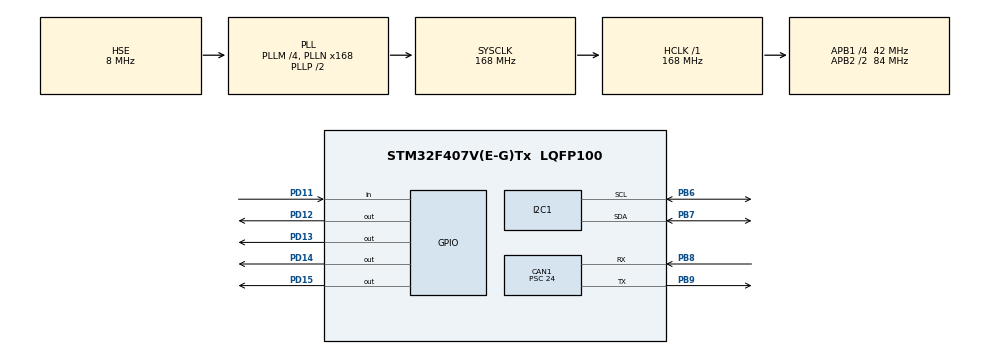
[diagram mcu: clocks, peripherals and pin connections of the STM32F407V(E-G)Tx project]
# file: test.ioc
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CAN1.BS1=CAN_BS1_13TQ
CAN1.BS2=CAN_BS2_2TQ
CAN1.CalculateBaudRate=109375
CAN1.CalculateTimeBit=9142
CAN1.CalculateTimeQuantum=571.4285714285714
CAN1.Prescaler=24
Mcu.Family=STM32F4
Mcu.Name=STM32F407V(E-G)Tx
Mcu.Package=LQFP100
NVIC.CAN1_RX0_IRQn=true\:0\:0\:false\:false\:true\:true\:true\:true
NVIC.PriorityGroup=NVIC_PRIORITYGROUP_0
PB6.Mode=I2C
PB6.Signal=I2C1_SCL
PB7.Mode=I2C
PB7.Signal=I2C1_SDA
PB8.Mode=CAN_Activate
PB8.Signal=CAN1_RX
PB9.Mode=CAN_Activate
PB9.Signal=CAN1_TX
PD11.Signal=GPIO_Input
PD12.Signal=GPIO_Output
PD13.Signal=GPIO_Output
PD14.Signal=GPIO_Output
PD15.Signal=GPIO_Output
PH0-OSC_IN.Mode=HSE-External-Oscillator
PH0-OSC_IN.Signal=RCC_OSC_IN
PH1-OSC_OUT.Mode=HSE-External-Oscillator
PH1-OSC_OUT.Signal=RCC_OSC_OUT
ProjectManager.HeapSize=0x200
ProjectManager.StackSize=0x400
ProjectManager.TargetToolchain=STM32CubeIDE
RCC.48MHZClocksFreq_Value=48000000
RCC.AHBFreq_Value=168000000
RCC.APB1CLKDivider=RCC_HCLK_DIV4
RCC.APB1Freq_Value=42000000
RCC.APB1TimFreq_Value=84000000
RCC.APB2CLKDivider=RCC_HCLK_DIV2
RCC.APB2Freq_Value=84000000
RCC.APB2TimFreq_Value=168000000
RCC.CortexFreq_Value=168000000
RCC.HCLKFreq_Value=168000000
RCC.HSE_VALUE=8000000
RCC.HSI_VALUE=16000000
RCC.LSE_VALUE=32768
RCC.PLLM=4
RCC.PLLN=168
RCC.PLLQ=7
RCC.PLLSourceVirtual=RCC_PLLSOURCE_HSE
RCC.SYSCLKFreq_VALUE=168000000
RCC.SYSCLKSource=RCC_SYSCLKSOURCE_PLLCLK
RCC.VCOOutputFreq_Value=336000000
VP_TIM6_VS_ClockSourceINT.Mode=Enable_Timer
board=STM32F407G-DISC1

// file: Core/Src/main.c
/* USER CODE BEGIN Header */
/**
  ******************************************************************************
  * @file           : main.c
  * @brief          : Main program body
  ******************************************************************************
  * @attention
  *
  * Copyright (c) 2024 STMicroelectronics.
  * All rights reserved.
  *
  * This software is licensed under terms that can be found in the LICENSE file
  * in the root directory of this software component.
  * If no LICENSE file comes with this software, it is provided AS-IS.
  *
  ******************************************************************************
  */
/* USER CODE END Header */
#include "main.h"

/* USER CODE BEGIN Includes */
#include <stdio.h>
#include <string.h>
#include <stdlib.h>
/* USER CODE END Includes */

/* USER CODE BEGIN PTD */
typedef struct {
uint8_t configuration;
uint8_t shunt_voltage;
uint8_t bus_voltage;
uint8_t power;
uint8_t current;
uint8_t calibration;
}registerPtr_t;
/* USER CODE END PTD */

/* USER CODE BEGIN PD */
/********DHT***********/
#define DHT_port GPIOD
#define DHT_pin GPIO_PIN_11
#define TWITCH_port GPIOD
#define TWITCH_pin GPIO_PIN_12
#define DHT_DETECT_port GPIOD
#define DHT_DETECT_pin GPIO_PIN_14
/**********************/
/* USER CODE END PD */

/* USER CODE BEGIN PM */
#define TWITCH  HAL_GPIO_TogglePin(TWITCH_port, TWITCH_pin);\
				delayUS(1);\
				HAL_GPIO_TogglePin(TWITCH_port, TWITCH_pin);

/********INA*********/
#define slave_addr 0x40
#define currentLSB 0.06
#define powerLSB   1.2
#define shuntVLSB  0.010
#define busVLSB    4
/********************/
/* USER CODE END PM */

CAN_HandleTypeDef hcan1;

I2C_HandleTypeDef hi2c1;

TIM_HandleTypeDef htim6;

/* USER CODE BEGIN PV */
/**********DHT*********/
GPIO_InitTypeDef gpioINIT;
uint8_t DHTdataBuff[5];
/********************/
/********INA*********/
uint8_t txBuff[3];
uint8_t rxBuff[2];
/********************/
/********CAN*********/
CAN_TxHeaderTypeDef  TxHeader;
CAN_RxHeaderTypeDef  RxHeader;
uint8_t              TxData[8];
uint8_t              RxData[8];
uint32_t             TxMailbox;
/********************/
/* USER CODE END PV */

void SystemClock_Config(void);
static void MX_GPIO_Init(void);
static void MX_CAN1_Init(void);
static void MX_I2C1_Init(void);
static void MX_TIM6_Init(void);
/* USER CODE BEGIN PFP */
/*********DHT***********/
static void delayUS(uint16_t);
void startBit();
void sensorPinOUT();
void sensorPinIN();
uint8_t detect();
void acquireData(uint8_t *);
/**********************/

/********INA*********/
uint8_t changeRegPtr(I2C_HandleTypeDef * , uint16_t , uint8_t * );
uint8_t getBytes(I2C_HandleTypeDef * , uint16_t , uint8_t * , uint8_t);
uint8_t putBytes(I2C_HandleTypeDef * , uint16_t , uint8_t * , uint8_t);
/********************/
/*********CAN********/
void CAN_filterConfig(void);
/********************/

/* USER CODE END PFP */

int main(void)
{
  /* USER CODE BEGIN 1 */
	uint8_t retval = 0;
	float temp;
	registerPtr_t reg_ptr = {
			.configuration = 0x00,
			.shunt_voltage = 0x01,
			.bus_voltage   = 0x02,
			.power         = 0x03,
			.current       = 0x04,
			.calibration   = 0x05
	};
	float current_mA;
	float bus_mV;
	float bus_V;
	float shunt_mV;
	float bus_mW;
	uint16_t current_regV;
	uint16_t busV_regV;
	uint16_t shunt_regV;
	uint16_t busP_regV;
  /* USER CODE END 1 */

  /* MCU Configuration--------------------------------------------------------*/

  /* Reset of all peripherals, Initializes the Flash interface and the Systick. */
  HAL_Init();

  /* Configure the system clock */
  SystemClock_Config();

  /* Initialize all configured peripherals */
  MX_GPIO_Init();
  MX_CAN1_Init();
  MX_I2C1_Init();
  MX_TIM6_Init();
  /* USER CODE BEGIN 2 */
  HAL_TIM_Base_Start(&htim6);

  //read and print default configuration register
  retval = changeRegPtr(&hi2c1,slave_addr,&(reg_ptr.configuration));
  printf("Change address to config_reg:%u\n",retval);
  retval = getBytes(&hi2c1 , slave_addr, rxBuff , 2);
  printf("Read success:%u\n",retval);
  printf("B1:%x\t B2:%x\n",rxBuff[0],rxBuff[1]);

  //writing configuration register accordingly
  txBuff[0]= reg_ptr.configuration;
  txBuff[1]= 0x9E; //0x15;
  txBuff[2]= 0x1F; //0x0f;
  retval = putBytes(&hi2c1, slave_addr, txBuff,3);
  printf("Write success at config_reg:%u\n",retval);

  //read an print updated configuration register
  retval = changeRegPtr(&hi2c1,slave_addr,&(reg_ptr.configuration));
  printf("Change address to config_reg:%u\n",retval);
  retval = getBytes(&hi2c1 , slave_addr, rxBuff , 2);
  printf("Read success:%u\n",retval);
  printf("B1:%x\t B2:%x\n",rxBuff[0],rxBuff[1]);

  //writing calibration register accordingly
  txBuff[0]= reg_ptr.calibration;
  txBuff[1]= 0x1A; //0x35;
  txBuff[2]= 0xAA; //0x54;

  //0x1AAA is left shifted by 1
  retval = putBytes(&hi2c1, slave_addr, txBuff,3);
  printf("Write success at calib_reg:%u\n",retval);

  //read an print updated calibration register
  retval = changeRegPtr(&hi2c1,slave_addr,&(reg_ptr.calibration));
  printf("Change address to config_reg:%u\n",retval);
  retval = getBytes(&hi2c1 , slave_addr, rxBuff , 2);
  printf("Read success:%u\n",retval);
  printf("B1:%x\t B2:%x\n",rxBuff[0],rxBuff[1]);

  CAN_filterConfig();
  if (HAL_CAN_Start(&hcan1) != HAL_OK)
  	  {
	  /* Start Error */
	  Error_Handler();
  	  	 }
  if (HAL_CAN_ActivateNotification(&hcan1, CAN_IT_RX_FIFO0_MSG_PENDING) != HAL_OK)
  	  {
  // Notification Error
  Error_Handler();
  	  }

  /* USER CODE END 2 */

  /* Infinite loop */
  while (1)
  {

    /* USER CODE BEGIN 3 */
	  HAL_GPIO_WritePin(GPIOD, GPIO_PIN_15, SET);
	  startBit();
	  retval = detect();
	  if(retval)
	  {
	  acquireData(DHTdataBuff);

	// uint32_t str[32];
	  temp = (float)(DHTdataBuff[2] << 8 | DHTdataBuff[3])/10.0;
	  printf("Temp:%f\n",temp);

	//  uint32_t count = sprintf(str, "ADC= %f\r\n", temp);
	  //	HAL_UART_Transmit(&huart2, (uint8_t*)str, count, HAL_MAX_DELAY);

	  TxData[0] = DHTdataBuff[2];
	  TxData[1] = DHTdataBuff[3];

	  }
	  else
	  {
	  printf("Temp:%f\n",99.99);
	  TxData[0] = 0x00;
	  TxData[1] = 0x00;
	  }
	  HAL_GPIO_WritePin(GPIOD, GPIO_PIN_15, RESET);
	  HAL_Delay(1000);

	  HAL_GPIO_WritePin(GPIOD, GPIO_PIN_15, SET);

	  //read current register
	  retval = changeRegPtr(&hi2c1,slave_addr,&(reg_ptr.current));
	  printf("Change address to current_reg:%u\n",retval);
	  retval = getBytes(&hi2c1 , slave_addr, rxBuff , 2);
	  printf("Read success:%u\n",retval);
	  printf("B1:%x\t B2:%x\n",rxBuff[0],rxBuff[1]);
	  current_regV = (rxBuff[0]<<8) + (rxBuff[1]);
	  current_mA = current_regV*currentLSB;
	  printf("Current Value:%f\n",current_mA);
	  TxData[2] = rxBuff[0];
	  TxData[3] = rxBuff[1];

	  //read busVoltage register
	  retval = changeRegPtr(&hi2c1,slave_addr,&(reg_ptr.bus_voltage));
	  printf("Change address to busVoltage_reg:%u\n",retval);
	  retval = getBytes(&hi2c1 , slave_addr, rxBuff , 2);
	  printf("Read success:%u\n",retval);
	  printf("B1:%x\t B2:%x\n",rxBuff[0],rxBuff[1]);
	  busV_regV = ((rxBuff[0]<<8) + (rxBuff[1]));
	  busV_regV = busV_regV >> 3;
	  bus_mV = busV_regV*busVLSB;
	  bus_V = bus_mV/1000;
	  printf("busVolt Value:%f\n",bus_V);
	  TxData[2] = rxBuff[0];
	  TxData[3] = rxBuff[1];

	  //read shuntVoltage register
	  retval = changeRegPtr(&hi2c1,slave_addr,&(reg_ptr.shunt_voltage));
	  printf("Change address to shuntVoltage:%u\n",retval);
	  retval = getBytes(&hi2c1 , slave_addr, rxBuff , 2);
	  printf("Read success:%u\n",retval);
	  printf("B1:%x\t B2:%x\n",rxBuff[0],rxBuff[1]);
	  shunt_regV = (rxBuff[0]<<8) + (rxBuff[1]);
	  shunt_mV = shunt_regV*shuntVLSB;
	  printf("shuntVolt Value:%f\n",shunt_mV);

	  //read busWattage register
	  retval = changeRegPtr(&hi2c1,slave_addr,&(reg_ptr.power));
	  printf("Change address to busWattage:%u\n",retval);
	  retval = getBytes(&hi2c1 , slave_addr, rxBuff , 2);
	  printf("Read success:%u\n",retval);

	  printf("B1:%x\t B2:%x\n",rxBuff[0],rxBuff[1]);
	  busP_regV = (rxBuff[0]<<8) + (rxBuff[1]);
	  bus_mW = busP_regV*powerLSB;
	  printf("busWatt Value:%f\n",bus_mW);
	  HAL_GPIO_WritePin(GPIOD, GPIO_PIN_15, RESET);
	  HAL_Delay(2000);
	  TxHeader.StdId = 0x123;
	  TxHeader.RTR = CAN_RTR_DATA;
	  TxHeader.IDE = CAN_ID_STD;
	  TxHeader.DLC = 6;
	  TxHeader.TransmitGlobalTime = DISABLE;
	  if (HAL_CAN_AddTxMessage(&hcan1, &TxHeader, TxData, &TxMailbox) != HAL_OK)
	  {
	  /* Transmission request Error */
	  Error_Handler();
	  }
	  for(int i=0;i<10;HAL_GPIO_TogglePin(GPIOD, GPIO_PIN_12),HAL_Delay(200),i++);
	  HAL_Delay(180000);

  }
  /* USER CODE END 3 */
}

void SystemClock_Config(void)
{
  RCC_OscInitTypeDef RCC_OscInitStruct = {0};
  RCC_ClkInitTypeDef RCC_ClkInitStruct = {0};

  /** Configure the main internal regulator output voltage
  */
  __HAL_RCC_PWR_CLK_ENABLE();
  __HAL_PWR_VOLTAGESCALING_CONFIG(PWR_REGULATOR_VOLTAGE_SCALE1);

  /** Initializes the RCC Oscillators according to the specified parameters
  * in the RCC_OscInitTypeDef structure.
  */
  RCC_OscInitStruct.OscillatorType = RCC_OSCILLATORTYPE_HSE;
  RCC_OscInitStruct.HSEState = RCC_HSE_ON;
  RCC_OscInitStruct.PLL.PLLState = RCC_PLL_ON;
  RCC_OscInitStruct.PLL.PLLSource = RCC_PLLSOURCE_HSE;
  RCC_OscInitStruct.PLL.PLLM = 4;
  RCC_OscInitStruct.PLL.PLLN = 168;
  RCC_OscInitStruct.PLL.PLLP = RCC_PLLP_DIV2;
  RCC_OscInitStruct.PLL.PLLQ = 7;
  if (HAL_RCC_OscConfig(&RCC_OscInitStruct) != HAL_OK)
  {
    Error_Handler();
  }

  /** Initializes the CPU, AHB and APB buses clocks
  */
  RCC_ClkInitStruct.ClockType = RCC_CLOCKTYPE_HCLK|RCC_CLOCKTYPE_SYSCLK
                              |RCC_CLOCKTYPE_PCLK1|RCC_CLOCKTYPE_PCLK2;
  RCC_ClkInitStruct.SYSCLKSource = RCC_SYSCLKSOURCE_PLLCLK;
  RCC_ClkInitStruct.AHBCLKDivider = RCC_SYSCLK_DIV1;
  RCC_ClkInitStruct.APB1CLKDivider = RCC_HCLK_DIV4;
  RCC_ClkInitStruct.APB2CLKDivider = RCC_HCLK_DIV2;

  if (HAL_RCC_ClockConfig(&RCC_ClkInitStruct, FLASH_LATENCY_5) != HAL_OK)
  {
    Error_Handler();
  }
}

static void MX_CAN1_Init(void)
{

  hcan1.Instance = CAN1;
  hcan1.Init.Prescaler = 24;
  hcan1.Init.Mode = CAN_MODE_NORMAL;
  hcan1.Init.SyncJumpWidth = CAN_SJW_1TQ;
  hcan1.Init.TimeSeg1 = CAN_BS1_13TQ;
  hcan1.Init.TimeSeg2 = CAN_BS2_2TQ;
  hcan1.Init.TimeTriggeredMode = DISABLE;
  hcan1.Init.AutoBusOff = DISABLE;
  hcan1.Init.AutoWakeUp = DISABLE;
  hcan1.Init.AutoRetransmission = DISABLE;
  hcan1.Init.ReceiveFifoLocked = DISABLE;
  hcan1.Init.TransmitFifoPriority = DISABLE;
  if (HAL_CAN_Init(&hcan1) != HAL_OK)
  {
    Error_Handler();
  }

}

static void MX_I2C1_Init(void)
{

  hi2c1.Instance = I2C1;
  hi2c1.Init.ClockSpeed = 100000;
  hi2c1.Init.DutyCycle = I2C_DUTYCYCLE_2;
  hi2c1.Init.OwnAddress1 = 0;
  hi2c1.Init.AddressingMode = I2C_ADDRESSINGMODE_7BIT;
  hi2c1.Init.DualAddressMode = I2C_DUALADDRESS_DISABLE;
  hi2c1.Init.OwnAddress2 = 0;
  hi2c1.Init.GeneralCallMode = I2C_GENERALCALL_DISABLE;
  hi2c1.Init.NoStretchMode = I2C_NOSTRETCH_DISABLE;
  if (HAL_I2C_Init(&hi2c1) != HAL_OK)
  {
    Error_Handler();
  }

}

static void MX_TIM6_Init(void)
{

  TIM_MasterConfigTypeDef sMasterConfig = {0};

  htim6.Instance = TIM6;
  htim6.Init.Prescaler = 0;
  htim6.Init.CounterMode = TIM_COUNTERMODE_UP;
  htim6.Init.Period = 65535;
  htim6.Init.AutoReloadPreload = TIM_AUTORELOAD_PRELOAD_DISABLE;
  if (HAL_TIM_Base_Init(&htim6) != HAL_OK)
  {
    Error_Handler();
  }
  sMasterConfig.MasterOutputTrigger = TIM_TRGO_RESET;
  sMasterConfig.MasterSlaveMode = TIM_MASTERSLAVEMODE_DISABLE;
  if (HAL_TIMEx_MasterConfigSynchronization(&htim6, &sMasterConfig) != HAL_OK)
  {
    Error_Handler();
  }

}

static void MX_GPIO_Init(void)
{
  GPIO_InitTypeDef GPIO_InitStruct = {0};

  /* GPIO Ports Clock Enable */
  __HAL_RCC_GPIOH_CLK_ENABLE();
  __HAL_RCC_GPIOD_CLK_ENABLE();
  __HAL_RCC_GPIOB_CLK_ENABLE();

  /*Configure GPIO pin Output Level */
  HAL_GPIO_WritePin(GPIOD, GPIO_PIN_12|GPIO_PIN_13|GPIO_PIN_14|GPIO_PIN_15, GPIO_PIN_RESET);

  /*Configure GPIO pin : PD11 */
  GPIO_InitStruct.Pin = GPIO_PIN_11;
  GPIO_InitStruct.Mode = GPIO_MODE_INPUT;
  GPIO_InitStruct.Pull = GPIO_NOPULL;
  HAL_GPIO_Init(GPIOD, &GPIO_InitStruct);

  /*Configure GPIO pins : PD12 PD13 PD14 PD15 */
  GPIO_InitStruct.Pin = GPIO_PIN_12|GPIO_PIN_13|GPIO_PIN_14|GPIO_PIN_15;
  GPIO_InitStruct.Mode = GPIO_MODE_OUTPUT_PP;
  GPIO_InitStruct.Pull = GPIO_NOPULL;
  GPIO_InitStruct.Speed = GPIO_SPEED_FREQ_LOW;
  HAL_GPIO_Init(GPIOD, &GPIO_InitStruct);

}

/* USER CODE BEGIN 4 */
static void delayUS(uint16_t delay)
{
	htim6.Instance->CNT = 0;
	while(htim6.Instance->CNT < delay);
}

void sensorPinOUT()
{
gpioINIT.Pin = DHT_pin;
gpioINIT.Mode = GPIO_MODE_OUTPUT_PP;
HAL_GPIO_Init(DHT_port, &gpioINIT);
}

void sensorPinIN()
{
gpioINIT.Pin = DHT_pin;
gpioINIT.Mode = GPIO_MODE_INPUT;
gpioINIT.Pull = GPIO_PULLUP;
HAL_GPIO_Init(DHT_port, &gpioINIT);
}

void startBit()
{
	sensorPinOUT();
	HAL_GPIO_WritePin(DHT_port, DHT_pin, RESET);
	delayUS(18000);
	sensorPinIN();
}

uint8_t detect()
{
	uint8_t presence = 0;
	delayUS(40);
	TWITCH
	if(!HAL_GPIO_ReadPin(DHT_port, DHT_pin))
	{
	presence = 1;
	HAL_GPIO_WritePin(DHT_DETECT_port, DHT_DETECT_pin, SET);
	}
	else
	{
	HAL_GPIO_WritePin(DHT_DETECT_port, DHT_DETECT_pin, RESET);
	return presence;
	}
	while(HAL_GPIO_ReadPin(DHT_port, DHT_pin) != GPIO_PIN_SET);
	TWITCH
	while(HAL_GPIO_ReadPin(DHT_port, DHT_pin) != GPIO_PIN_RESET);
	TWITCH
	return presence;
}

void acquireData(uint8_t * dataBuff)
{
	uint8_t temp;
	for(int i=0 ; i<5;i++)
	{
	temp = 0;
	for(int j=0;j<8;j++)
	{
	while(!HAL_GPIO_ReadPin(DHT_port, DHT_pin));
	delayUS(45);
	TWITCH
	if(HAL_GPIO_ReadPin(DHT_port, DHT_pin) == GPIO_PIN_RESET)
	{
	TWITCH
	//bit is '0'
	temp = temp & ~(1<<(7-j));
	}
	else
	{
	TWITCH
	//bit is '1'
	temp = temp | 1<<(7-j);
	delayUS(30);
	}
	}
	*(dataBuff+i) = temp;
	while(HAL_GPIO_ReadPin(DHT_port, DHT_pin) != GPIO_PIN_RESET);
	}
}

uint8_t changeRegPtr(I2C_HandleTypeDef * hi2c, uint16_t i2c_add, uint8_t * reg_ptr_val)
{
	if(!HAL_I2C_Master_Transmit(hi2c, i2c_add<<1 , reg_ptr_val, 1, 1000))
	return HAL_OK;
	else
	return HAL_ERROR;
	}
uint8_t getBytes(I2C_HandleTypeDef * hi2c , uint16_t i2c_add, uint8_t * buffPtr , uint8_t count)
{
	if(!HAL_I2C_Master_Receive(hi2c, i2c_add<<1, buffPtr, count, 10000))
	return HAL_OK;
	else
	return HAL_ERROR;
}
uint8_t putBytes(I2C_HandleTypeDef * hi2c , uint16_t i2c_add, uint8_t * buffPtr , uint8_t count)
{
	if(!HAL_I2C_Master_Transmit(hi2c, i2c_add<<1, buffPtr, count, 10000))
	return HAL_OK;
	else
	return HAL_ERROR;
}

void CAN_filterConfig(void)
{
	/*##- Setup the Filter to receive ANY MSG ID #####################################*/
	CAN_FilterTypeDef sFilterConfig;
	sFilterConfig.FilterBank = 0;
	sFilterConfig.FilterMode = CAN_FILTERMODE_IDMASK;
	sFilterConfig.FilterScale = CAN_FILTERSCALE_32BIT;
	sFilterConfig.FilterIdHigh = 0x0000;
	sFilterConfig.FilterIdLow = 0x0000;
	sFilterConfig.FilterMaskIdHigh = 0x0000;
	sFilterConfig.FilterMaskIdLow = 0x0000;
	sFilterConfig.FilterFIFOAssignment = CAN_RX_FIFO0;
	sFilterConfig.FilterActivation = ENABLE;
	sFilterConfig.SlaveStartFilterBank = 14;
	HAL_CAN_ConfigFilter(&hcan1, &sFilterConfig);
}

void HAL_CAN_RxFifo0MsgPendingCallback(CAN_HandleTypeDef *hcan)
{
	/* Get RX message from Fifo0 as message is Pending in Fifo to be Read */
	if (HAL_CAN_GetRxMessage(hcan, CAN_RX_FIFO0, &RxHeader, RxData) != HAL_OK)
	{
	/* Reception Error */
	Error_Handler();
	}
	/* Display LEDx */
	if ((RxHeader.StdId == 0x123) && (RxHeader.IDE == CAN_ID_STD))
	{
	for(int i=0;i<10;HAL_GPIO_TogglePin(GPIOD, GPIO_PIN_13),HAL_Delay(100),i++);
	}

}

/* USER CODE END 4 */

void Error_Handler(void)
{
  __disable_irq();
  while (1)
  {
  }
}
